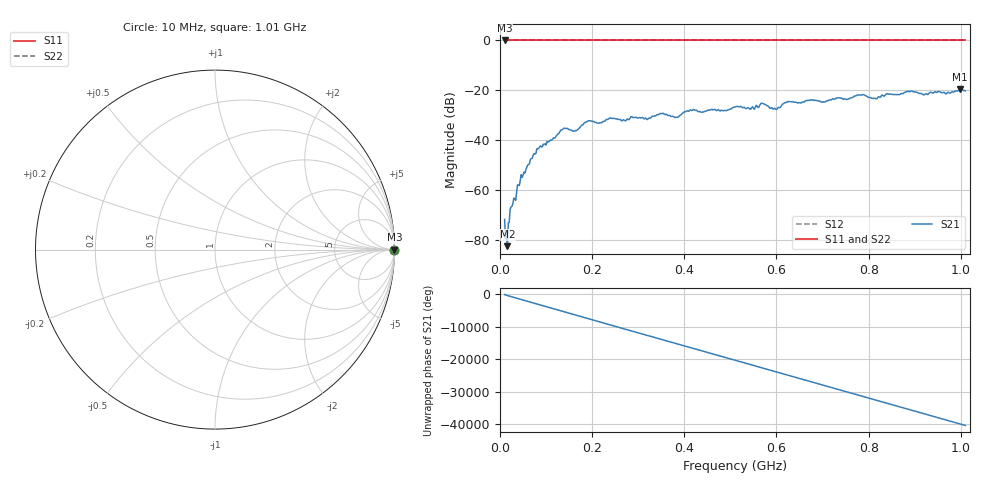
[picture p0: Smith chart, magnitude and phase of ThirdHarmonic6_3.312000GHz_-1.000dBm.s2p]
! 8/17/2025 10:21:23 AM
! C:\ANRITSUVNA\TEMP\TEMP.S2P
! CHANNEL.1
! TR.MEASUREMENT
! RAW.DATA
! RF.CORRECTION.OFF
! AVERAGING.OFF
! IF.BANDWIDTH: 5KHZ
! SWEEPTYPE:  FREQ.SWEEP(Linear)
! Reference Plane Port Info
! PORT:  PORT1  PORT2
! DISTANCE:  0  m  0  m
! TIME:  0  s  0  s
! PHASE.OFFSET:  0  deg.  0  deg.
! LOSS:  0  dB  0  dB
! REF.LOSS:  0  dB  0  dB
! REF.FREQ:  0  Hz  0  Hz
! Power Info
! POWER:  -20  dBm  -20  dBm
! EFF.POWER:  -20  dBm  -20  dBm
! SOURCE.ATTEN:  0  dB  0  dB
! TEST.ATTEN:  0  dB  0  dB
# GHZ S RI R 50.0
! FREQ.GHZ  S11RE  S11IM  S21RE  S21IM  S12RE  S12IM  S22RE  S22IM
!; PortSelection: Port_12
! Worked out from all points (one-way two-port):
!   501 points, 10 MHz to 1.01 GHz, reference 50 ohm
!   highest |S21| = -19.50 dB at 998 MHz (marker M1); lowest = -82.4 dB at 16 MHz (marker M2)
!   lowest |S11| = 0.0 dB at 10 MHz (marker M3)
!   |S11| at or under -10 dB: nowhere
!   |S22| runs from 0.0 to 0.0 dB; largest |S21 - S12| = 1.1
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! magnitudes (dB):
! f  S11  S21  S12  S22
! 10 MHz  0.0  -71.7  0.0  0.0
! 16 MHz  0.0  -82.4  0.0  0.0
! 26 MHz  0.0  -66.4  0.0  0.0
! 42 MHz  0.0  -58.1  0.0  0.0
! 76 MHz  0.0  -45.4  0.0  0.0
! 136 MHz  0.0  -35.6  0.0  0.0
! 162 MHz  0.0  -36.3  0.0  0.0
! 178 MHz  0.0  -33.9  0.0  0.0
! 344 MHz  0.0  -29.7  0.0  0.0
! 384 MHz  0.0  -30.8  0.0  0.0
! 416 MHz  0.0  -28.1  0.0  0.0
! 510 MHz  0.0  -26.7  0.0  0.0
! 548 MHz  0.0  -26.5  0.0  0.0
! 570 MHz  0.0  -25.2  0.0  0.0
! 596 MHz  0.0  -27.1  0.0  0.0
! 622 MHz  0.0  -24.8  0.0  0.0
! 678 MHz  0.0  -23.9  0.0  0.0
! 784 MHz  0.0  -21.9  0.0  0.0
! 814 MHz  0.0  -23.1  0.0  0.0
! 844 MHz  0.0  -21.5  0.0  0.0
! 998 MHz  0.0  -19.5  0.0  0.0
! 1.01 GHz  0.0  -20.2  0.0  0.0
